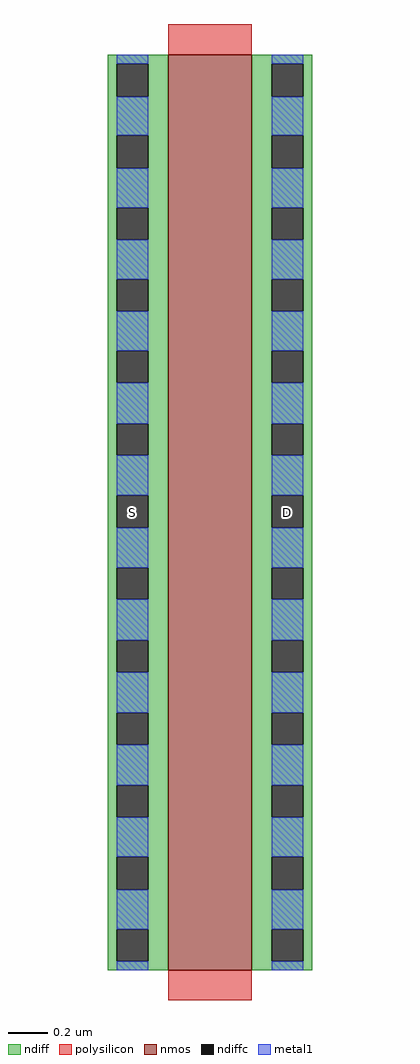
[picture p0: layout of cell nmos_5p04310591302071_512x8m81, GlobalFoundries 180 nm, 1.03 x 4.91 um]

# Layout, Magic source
magic
tech gf180mcuD
magscale 1 10
<< nmos >>
rect 0 0 84 921
<< ndiff >>
rect -61 912 0 921
rect -61 879 -52 912
rect -20 879 0 912
rect -61 840 0 879
rect -61 807 -52 840
rect -20 807 0 840
rect -61 767 0 807
rect -61 735 -52 767
rect -20 735 0 767
rect -61 695 0 735
rect -61 663 -52 695
rect -20 663 0 695
rect -61 623 0 663
rect -61 591 -52 623
rect -20 591 0 623
rect -61 550 0 591
rect -61 518 -52 550
rect -20 518 0 550
rect -61 478 0 518
rect -61 445 -52 478
rect -20 445 0 478
rect -61 405 0 445
rect -61 373 -52 405
rect -20 373 0 405
rect -61 332 0 373
rect -61 300 -52 332
rect -20 300 0 332
rect -61 259 0 300
rect -61 227 -52 259
rect -20 227 0 259
rect -61 186 0 227
rect -61 154 -52 186
rect -20 154 0 186
rect -61 114 0 154
rect -61 81 -52 114
rect -20 81 0 114
rect -61 41 0 81
rect -61 9 -52 41
rect -20 9 0 41
rect -61 0 0 9
rect 84 912 145 921
rect 84 879 104 912
rect 136 879 145 912
rect 84 840 145 879
rect 84 807 104 840
rect 136 807 145 840
rect 84 767 145 807
rect 84 735 104 767
rect 136 735 145 767
rect 84 695 145 735
rect 84 663 104 695
rect 136 663 145 695
rect 84 623 145 663
rect 84 591 104 623
rect 136 591 145 623
rect 84 550 145 591
rect 84 518 104 550
rect 136 518 145 550
rect 84 478 145 518
rect 84 445 104 478
rect 136 445 145 478
rect 84 405 145 445
rect 84 373 104 405
rect 136 373 145 405
rect 84 332 145 373
rect 84 300 104 332
rect 136 300 145 332
rect 84 259 145 300
rect 84 227 104 259
rect 136 227 145 259
rect 84 186 145 227
rect 84 154 104 186
rect 136 154 145 186
rect 84 114 145 154
rect 84 81 104 114
rect 136 81 145 114
rect 84 41 145 81
rect 84 9 104 41
rect 136 9 145 41
rect 84 0 145 9
<< ndiffc >>
rect -52 879 -20 912
rect -52 807 -20 840
rect -52 735 -20 767
rect -52 663 -20 695
rect -52 591 -20 623
rect -52 518 -20 550
rect -52 445 -20 478
rect -52 373 -20 405
rect -52 300 -20 332
rect -52 227 -20 259
rect -52 154 -20 186
rect -52 81 -20 114
rect -52 9 -20 41
rect 104 879 136 912
rect 104 807 136 840
rect 104 735 136 767
rect 104 663 136 695
rect 104 591 136 623
rect 104 518 136 550
rect 104 445 136 478
rect 104 373 136 405
rect 104 300 136 332
rect 104 227 136 259
rect 104 154 136 186
rect 104 81 136 114
rect 104 9 136 41
<< polysilicon >>
rect 0 921 84 952
rect 0 -30 84 0
<< metal1 >>
rect -52 912 -20 921
rect -52 840 -20 879
rect -52 767 -20 807
rect -52 695 -20 735
rect -52 623 -20 663
rect -52 550 -20 591
rect -52 478 -20 518
rect -52 405 -20 445
rect -52 332 -20 373
rect -52 259 -20 300
rect -52 186 -20 227
rect -52 114 -20 154
rect -52 41 -20 81
rect -52 0 -20 9
rect 104 912 136 921
rect 104 840 136 879
rect 104 767 136 807
rect 104 695 136 735
rect 104 623 136 663
rect 104 550 136 591
rect 104 478 136 518
rect 104 405 136 445
rect 104 332 136 373
rect 104 259 136 300
rect 104 186 136 227
rect 104 114 136 154
rect 104 41 136 81
rect 104 0 136 9
<< labels >>
flabel ndiffc -36 460 -36 460 0 FreeSans 140 0 0 0 S
flabel ndiffc 120 460 120 460 0 FreeSans 140 0 0 0 D
<< end >>
